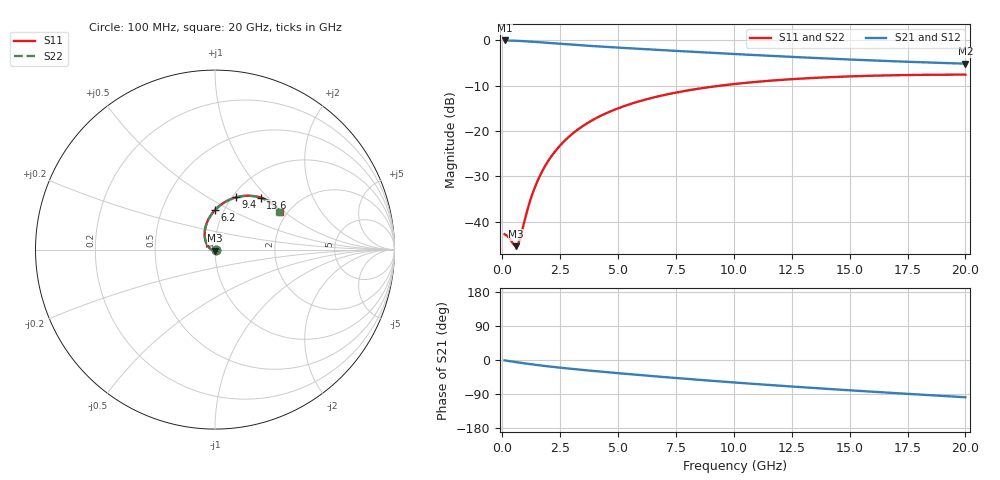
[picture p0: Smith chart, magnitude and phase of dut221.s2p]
! Touchstone file exported from HFSS 2024.1.0
!  File:  C:/UserFiles/LocalFiles/RDL_TSV_Batchsim/temp_RDL_TSV_221_1779448892.aedt
!  Generated:  07:35:07 PM May 22, 2026
!  Design:  RDL_TSV
!  Project:  temp_RDL_TSV_221_1779448892
!  Setup:  Setup1
!  Solution:  Sweep
! Variables:
!  dtsv = 10.71um
!  hbump = 3um
!  htsv = 56.57um
!  ldown = 120.85um
!  lrdl = 204.03um
!  p = 40
!  p1 = 50.2um
!  rhole = 10um
!  subl = 1178.67um
!  t = 450um
!  tdown = 4.54um
!  trdl = 4.15um
!  viad = 10um
!  wdown = 22.44um
!  wrdl = 12.94um
!  xbump = 18um
# GHz S MA R 50.000000
! Terminal data exported
! Port[1] = TM1_1_T1
! Port[2] = TM1_4_T1
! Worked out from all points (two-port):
!   200 points, 100 MHz to 20 GHz, reference 50 ohm
!   highest |S21| = -0.07 dB at 100 MHz (marker M1); lowest = -5.2 dB at 20 GHz (marker M2)
!   |S21| within 3 dB of the highest: start of sweep to 10.07 GHz
!   lowest |S11| = -45.4 dB at 600 MHz (marker M3), VSWR 1.01, Z = 50.1 - j0.533 ohm
!   |S11| at or under -10 dB: start of sweep to 9.458 GHz
!   |S22| runs from -45.4 to -7.6 dB; largest |S21 - S12| = 1.1e-14
!   S11 on the Smith chart (normalised r, x): 100 MHz: 1.01, -0.00; 6.2 GHz: 0.91, +0.42; 9.4 GHz: 1.05, +0.68; 13.6 GHz: 1.33, +0.91; 20 GHz: 1.82, +0.93
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0.1  0.00727 -7.9  0.9923 -1.0  0.9923 -1.0  0.007271 -7.9
! Gamma 0 0 0 0
! Port Impedance 50 0 50 0
0.2  0.007032 -16.8  0.9915 -1.9  0.9915 -1.9  0.007033 -16.8
0.6  0.005375 -82.0  0.9842 -5.7  0.9842 -5.7  0.00538 -81.8
0.7  0.005808 -106.6  0.9816 -6.6  0.9816 -6.6  0.005808 -106.5
0.8  0.007002 -128.4  0.9787 -7.5  0.9787 -7.5  0.006994 -128.3
1.1  0.01392 -167.1  0.9686 -10.0  0.9686 -10.0  0.01389 -167.0
1.3  0.0202 179.1  0.9609 -11.7  0.9609 -11.7  0.02015 179.1
1.5  0.0273 169.0  0.9529 -13.2  0.9529 -13.2  0.02723 169.1
1.8  0.03905 157.5  0.9403 -15.5  0.9403 -15.5  0.03895 157.6
2.1  0.05168 148.5  0.9278 -17.6  0.9278 -17.6  0.05155 148.5
2.5  0.06929 138.6  0.9115 -20.3  0.9115 -20.3  0.06912 138.6
3  0.09178 128.5  0.8923 -23.4  0.8923 -23.4  0.09156 128.5
3.5  0.1142 120.1  0.8745 -26.4  0.8745 -26.4  0.1139 120.1
4.7  0.1653 104.3  0.8365 -33.1  0.8365 -33.1  0.1649 104.2
6.2  0.2222 89.6  0.7948 -41.0  0.7948 -41.0  0.2216 89.6
6.8  0.2425 84.8  0.7793 -44.1  0.7793 -44.1  0.2419 84.7
9.4  0.3149 67.9  0.7173 -56.5  0.7173 -56.5  0.314 67.8
10.1  0.3303 64.1  0.702 -59.7  0.702 -59.7  0.3294 64.1
13.4  0.3832 49.6  0.6381 -73.7  0.6381 -73.7  0.382 49.5
13.6  0.3854 48.8  0.6346 -74.5  0.6346 -74.5  0.3843 48.7
16.7  0.4097 38.6  0.588 -86.4  0.588 -86.4  0.4084 38.5
20  0.4169 30.3  0.5509 -98.3  0.5509 -98.3  0.4154 30.1
